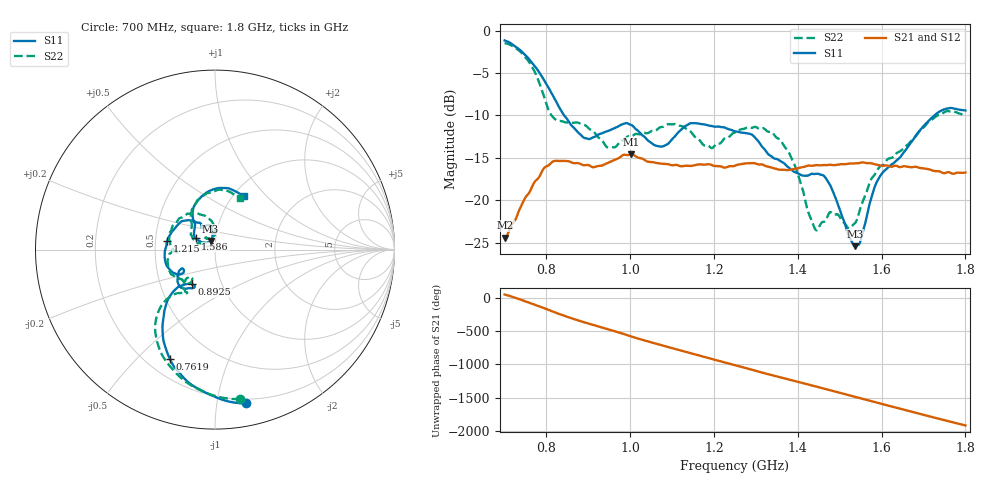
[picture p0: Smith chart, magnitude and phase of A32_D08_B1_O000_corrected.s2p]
! Created with skrf 1.9.0 (http://scikit-rf.org).
# Hz S RI R 50.0
!freq ReS11 ImS11 ReS21 ImS21 ReS12 ImS12 ReS22 ImS22
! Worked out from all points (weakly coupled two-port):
!   1601 points, 700 MHz to 1.8 GHz, reference 50 ohm
!   highest |S21| = -14.59 dB at 1.002 GHz (marker M1); lowest = -24.4 dB at 701.4 MHz (marker M2)
!   lowest |S11| = -25.4 dB at 1.537 GHz (marker M3), VSWR 1.11, Z = 47.4 + j4.51 ohm
!   |S11| at or under -10 dB: 842.2 MHz to 1.726 GHz (884 MHz wide, 68.8 % of centre)
!   |S22| runs from -23.6 to -1.5 dB; largest |S21 - S12| = 0.0035
!   S11 on the Smith chart (normalised r, x): 700 MHz: 0.17, -1.21; 761.9 MHz: 0.29, -0.63; 892.5 MHz: 0.72, -0.29; 1.215 GHz: 0.58, +0.06; 1.586 GHz: 0.80, +0.10; 1.8 GHz: 1.12, +0.75
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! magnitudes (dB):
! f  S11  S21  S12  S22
! 700 MHz  -1.2  -24.4  -24.2  -1.5
! 701.4 MHz  -1.2  -24.4  -24.0  -1.5
! 761.9 MHz  -3.6  -18.8  -18.7  -4.0
! 814.8 MHz  -7.6  -15.5  -15.5  -10.2
! 883.6 MHz  -12.4  -15.8  -15.7  -11.0
! 892.5 MHz  -12.7  -15.9  -15.9  -11.2
! 947.5 MHz  -11.8  -15.6  -15.6  -13.8
! 1.002 GHz  -11.1  -14.6  -14.7  -12.4
! 1.067 GHz  -13.6  -15.6  -15.6  -11.5
! 1.143 GHz  -10.9  -16.0  -16.0  -11.9
! 1.215 GHz  -11.4  -16.0  -16.0  -13.3
! 1.25 GHz  -11.9  -15.9  -15.9  -12.0
! 1.358 GHz  -15.4  -16.4  -16.4  -12.9
! 1.394 GHz  -16.7  -16.3  -16.3  -16.0
! 1.434 GHz  -16.9  -15.9  -15.9  -22.5
! 1.473 GHz  -17.9  -15.8  -15.8  -21.7
! 1.537 GHz  -25.4  -15.7  -15.7  -22.7
! 1.55 GHz  -24.7  -15.6  -15.6  -20.8
! 1.586 GHz  -18.1  -15.8  -15.8  -16.8
! 1.617 GHz  -16.1  -16.0  -15.9  -15.1
! 1.733 GHz  -9.7  -16.6  -16.6  -10.0
! 1.8 GHz  -9.4  -16.7  -16.7  -10.0
